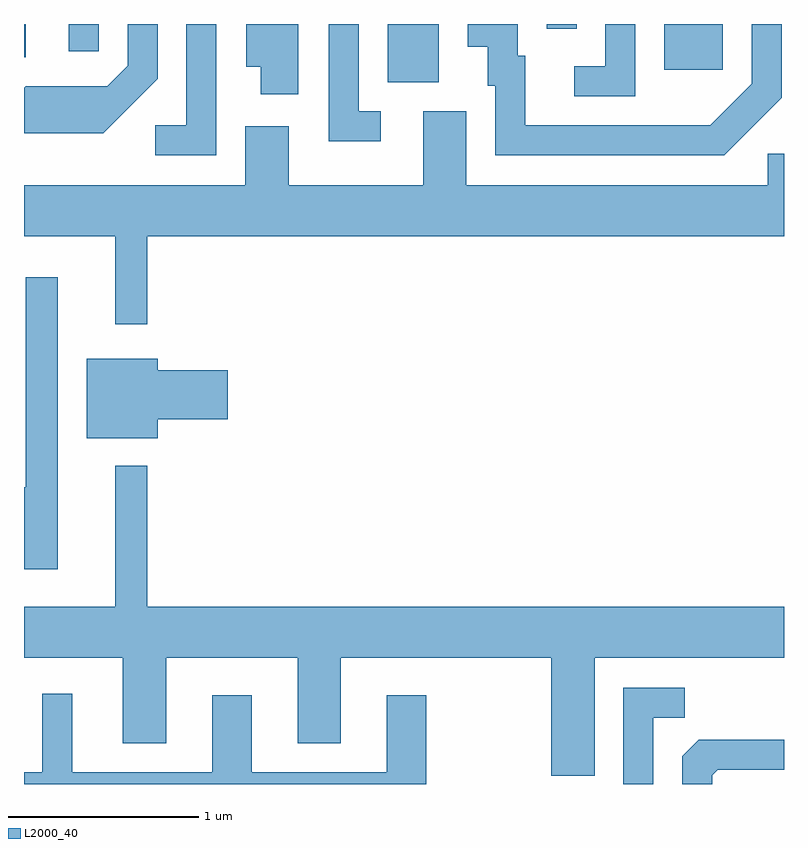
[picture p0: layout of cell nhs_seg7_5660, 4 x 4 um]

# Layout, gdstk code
import gdstk
lib = gdstk.Library(unit=1e-6, precision=1e-09)
def R(c, l, rs):  # rectangles x0, y0, x1, y1
    for r in rs: c.add(gdstk.rectangle(r[:2], r[2:], *l))
def P(c, l, *ps):  # polygons
    for p in ps: c.add(gdstk.Polygon(p, *l))
L2000_40 = (2000, 40)

nhs_seg7_5660 = lib.new_cell('nhs_seg7_5660')
R(nhs_seg7_5660, L2000_40, [(359.526,1783.946,359.794,1784.252), (360.981,1784.011,361.289,1784.252), (357.611,1784.076,357.619,1784.252), (357.846,1784.108,358.004,1784.252), (360.361,1784.228,360.519,1784.252)])
P(nhs_seg7_5660, L2000_40, [(360.829,1784.252),(360.671,1784.252),(360.671,1784.029),(360.508,1784.029),(360.508,1783.871),(360.829,1783.871)],
  [(358.314,1783.964),(358.314,1784.252),(358.156,1784.252),(358.156,1784.032),(358.049,1783.924),(357.619,1783.924),(357.611,1783.916),(357.611,1783.676),(358.027,1783.676)],
  [(361.599,1783.864),(361.599,1784.252),(361.441,1784.252),(361.441,1783.937),(361.224,1783.719),(360.249,1783.719),(360.249,1784.084),(360.209,1784.084),(360.209,1784.252),(359.946,1784.252),(359.946,1784.131),(360.051,1784.131),(360.051,1783.926),(360.091,1783.926),(360.091,1783.561),(361.297,1783.561)],
  [(358.624,1784.252),(358.466,1784.252),(358.466,1783.719),(358.303,1783.719),(358.303,1783.561),(358.624,1783.561)],
  [(359.054,1784.252),(358.781,1784.252),(358.781,1784.026),(358.856,1784.026),(358.856,1783.881),(359.054,1783.881)],
  [(359.488,1783.794),(359.374,1783.794),(359.374,1784.252),(359.216,1784.252),(359.216,1783.636),(359.488,1783.636)],
  [(358.259,1783.136),(361.611,1783.136),(361.611,1783.569),(361.526,1783.569),(361.526,1783.404),(359.939,1783.404),(359.939,1783.794),(359.711,1783.794),(359.711,1783.404),(359.004,1783.404),(359.004,1783.714),(358.776,1783.714),(358.776,1783.404),(357.611,1783.404),(357.611,1783.136),(358.091,1783.136),(358.091,1782.673),(358.259,1782.673)],
  [(357.789,1782.918),(357.621,1782.918),(357.621,1781.814),(357.611,1781.814),(357.611,1781.381),(357.789,1781.381)],
  [(358.314,1782.171),(358.684,1782.171),(358.684,1782.429),(358.314,1782.429),(358.314,1782.489),(357.941,1782.489),(357.941,1782.071),(358.314,1782.071)],
  [(360.614,1780.916),(361.611,1780.916),(361.611,1781.184),(358.259,1781.184),(358.259,1781.928),(358.091,1781.928),(358.091,1781.184),(357.611,1781.184),(357.611,1780.916),(358.131,1780.916),(358.131,1780.466),(358.359,1780.466),(358.359,1780.916),(359.051,1780.916),(359.051,1780.466),(359.279,1780.466),(359.279,1780.916),(360.386,1780.916),(360.386,1780.296),(360.614,1780.296)],
  [(360.924,1780.601),(361.088,1780.601),(361.088,1780.759),(360.766,1780.759),(360.766,1780.252),(360.924,1780.252)],
  [(359.729,1780.719),(359.521,1780.719),(359.521,1780.314),(358.809,1780.314),(358.809,1780.719),(358.601,1780.719),(358.601,1780.314),(357.864,1780.314),(357.864,1780.728),(357.706,1780.728),(357.706,1780.314),(357.611,1780.314),(357.611,1780.252),(359.729,1780.252)],
  [(361.234,1780.299),(361.262,1780.326),(361.611,1780.326),(361.611,1780.484),(361.162,1780.484),(361.076,1780.399),(361.076,1780.252),(361.234,1780.252)])

lib.write_gds('nhs_seg7_5660.gds')
